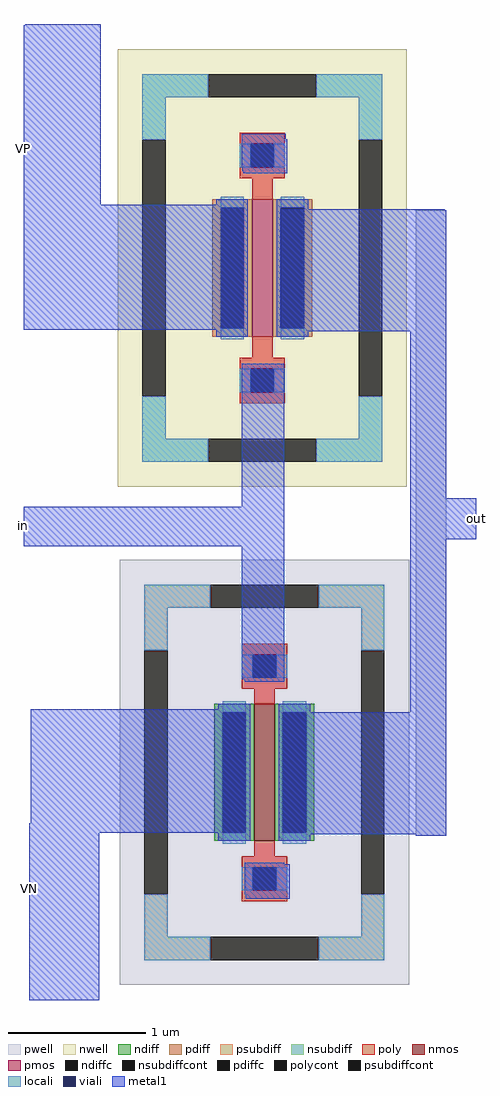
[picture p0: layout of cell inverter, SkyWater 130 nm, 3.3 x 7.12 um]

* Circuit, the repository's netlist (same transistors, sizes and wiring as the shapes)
* SPICE3 file created from inverter.ext - technology: sky130A

.subckt inverter vin vout vdd vss
X0 vout vin vss vss sky130_fd_pr__nfet_01v8 ad=5.5e+11p pd=3.1e+06u as=5.5e+11p ps=3.1e+06u w=1e+06u l=150000u
X1 vout vin vdd vdd sky130_fd_pr__pfet_01v8 ad=5.5e+11p pd=3.1e+06u as=5.5e+11p ps=3.1e+06u w=1e+06u l=150000u
.ends

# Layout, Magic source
magic
tech sky130A
magscale 1 2
<< pwell >>
rect 382 38 426 950
<< metal1 >>
rect -188 1220 -78 1222
rect -190 958 -78 1220
rect 128 1054 192 1062
rect 128 1012 194 1054
rect 130 1004 194 1012
rect -190 776 130 958
rect 186 950 424 952
rect 186 774 426 950
rect 128 518 190 726
rect -190 460 190 518
rect 128 266 190 460
rect 374 530 426 774
rect 374 470 470 530
rect -180 56 136 222
rect 374 218 426 470
rect -182 42 136 56
rect -182 -202 -80 42
rect 186 40 426 218
rect 382 38 426 40
rect 134 -54 198 -4
use sky130_fd_pr__pfet_01v8_XGS3BL  XM1
transform 1 0 158 0 1 866
box -211 -319 211 319
use sky130_fd_pr__nfet_01v8_648S5X  XM2
transform 1 0 161 0 1 130
box -211 -310 211 310
<< labels >>
rlabel metal1 -190 490 -190 490 7 in
port 1 w
rlabel metal1 470 500 470 500 3 out
port 2 e
rlabel metal1 -190 1040 -190 1040 7 VP
port 3 w
rlabel metal1 -182 -40 -182 -40 7 VN
port 4 w
flabel space -222 1032 -222 1032 0 FreeSans 480 0 0 0 VDD
flabel space -272 486 -272 486 0 FreeSans 480 0 0 0 IN
flabel space -266 -42 -266 -42 0 FreeSans 480 0 0 0 VSS
flabel space 498 500 498 500 0 FreeSans 480 0 0 0 VOUT
<< end >>

# cell sky130_fd_pr__pfet_01v8_XGS3BL: kit device sky130_fd_pr__pfet_01v8, w 1.0 l 0.15 m 1 nf 1 diffcov 100 polycov 100 guard 1 glc 1 grc 1 gtc 1 gbc 1 tbcov 100 rlcov 100 topc 1 botc 1 poverlap 0 doverlap 1 lmin 0.15 wmin 0.42 compatible {sky130_fd_pr__pfet_01v8 sky130_fd_pr__pfet_01v8_lvt sky130_fd_pr__pfet_01v8_hvt sky130_fd_pr__pfet_g5v0d10v5} full_metal 1 viasrc 100 viadrn 100 viagate 100 viagb 0 viagr 0 viagl 0 viagt 0

# cell sky130_fd_pr__nfet_01v8_648S5X: kit device sky130_fd_pr__nfet_01v8, w 1.0 l 0.15 m 1 nf 1 diffcov 100 polycov 100 guard 1 glc 1 grc 1 gtc 1 gbc 1 tbcov 100 rlcov 100 topc 1 botc 1 poverlap 0 doverlap 1 lmin 0.15 wmin 0.42 compatible {sky130_fd_pr__nfet_01v8 sky130_fd_pr__nfet_01v8_lvt sky130_fd_bs_flash__special_sonosfet_star sky130_fd_pr__nfet_g5v0d10v5 sky130_fd_pr__nfet_05v0_nvt sky130_fd_pr__nfet_03v3_nvt} full_metal 1 viasrc 100 viadrn 100 viagate 100 viagb 0 viagr 0 viagl 0 viagt 0
